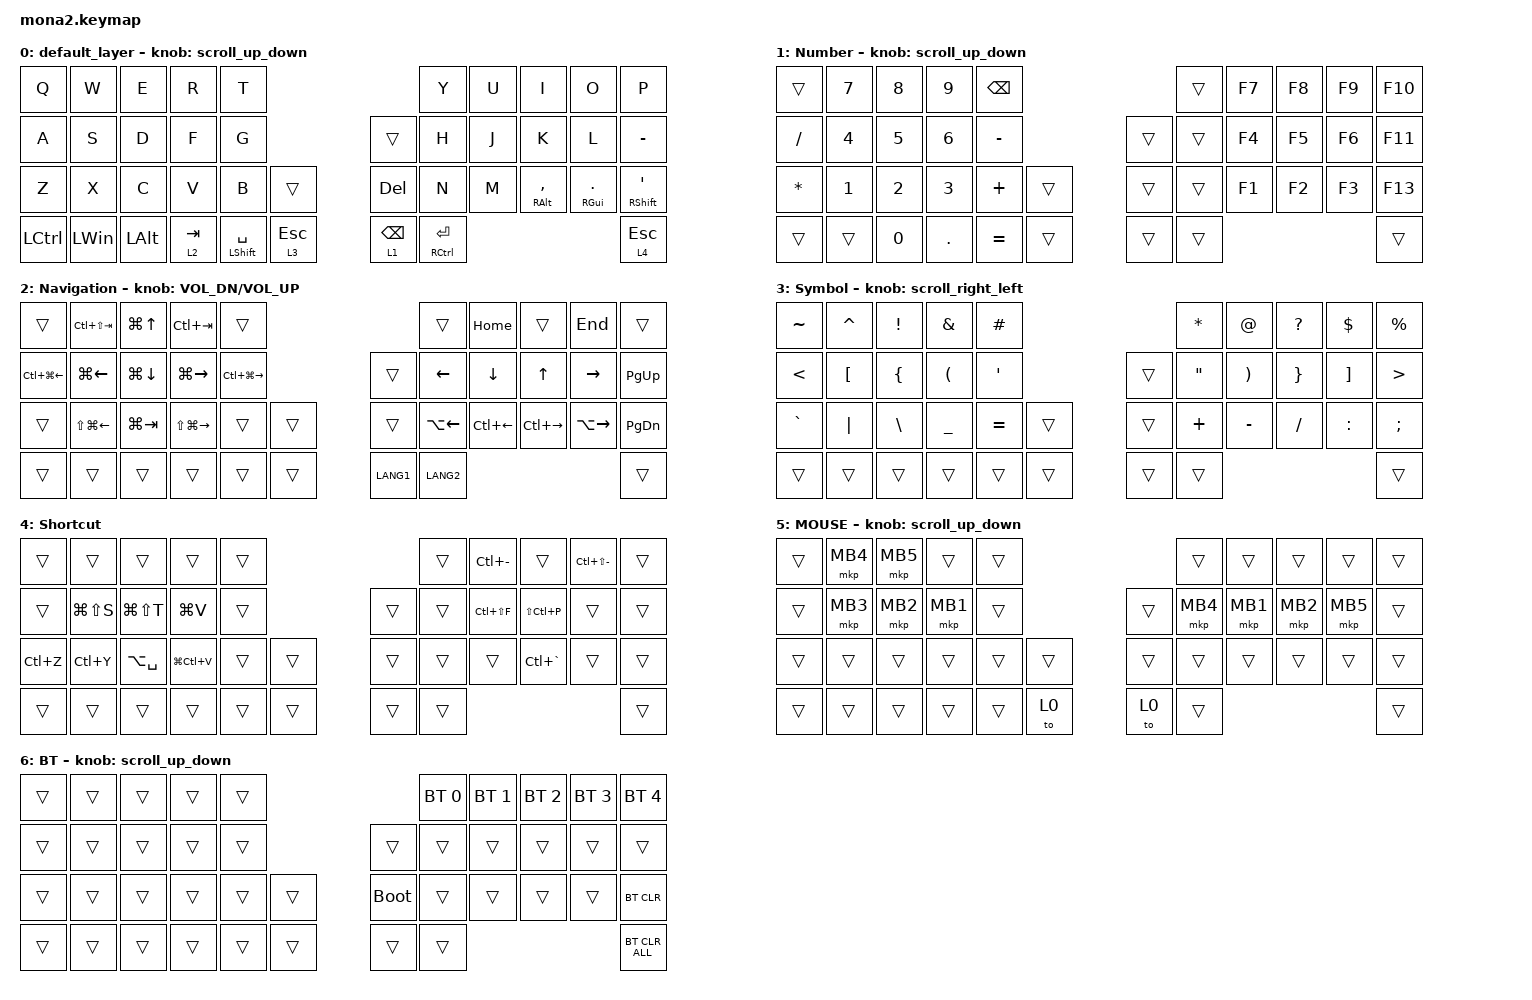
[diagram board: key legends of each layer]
#include <input/processors.dtsi>
#include <input/processors/report_rate_limit.dtsi>
#include <dt-bindings/zmk/input_transform.h>
#include <zephyr/dt-bindings/input/input-event-codes.h>
#include <behaviors.dtsi>
#include <dt-bindings/zmk/bt.h>
#include <dt-bindings/zmk/keys.h>
#include <dt-bindings/zmk/pointing.h>

#undef ZMK_POINTING_DEFAULT_SCRL_VAL

#define ZMK_POINTING_DEFAULT_SCRL_VAL 100
#define MOUSE 5
#define SCROLL 6

&mt {
    tapping-term-ms = <280>;
    quick-tap-ms = <200>;
    flavor = "tap-preferred";
};

&lt {
    tapping-term-ms = <280>;
    quick-tap-ms = <200>;
    flavor = "tap-preferred";
};

/ {
    combos {
        compatible = "zmk,combos";

        layer4_ESC {
            bindings = <&lt 6 ESC>;
            key-positions = <39 38>;
        };
    };

    macros {
        to_layer_0: to_layer_0 {
            compatible = "zmk,behavior-macro-one-param";
            #binding-cells = <1>;
            bindings = <&to 0 &macro_param_1to1 &kp MACRO_PLACEHOLDER>;
        };
    };

    behaviors {
        hml: hml {
            compatible = "zmk,behavior-hold-tap";
            #binding-cells = <2>;
            flavor = "tap-preferred";
            tapping-term-ms = <280>;
            quick-tap-ms = <200>;
            require-prior-idle-ms = <150>;
            bindings = <&kp>, <&kp>;

            hold-trigger-key-positions = <5 6 7 8 9 15 16 17 18 19 20 27 28 29 30 31 32 39 40 41>;
        };

        hmr: hmr {
            compatible = "zmk,behavior-hold-tap";
            #binding-cells = <2>;
            flavor = "tap-preferred";
            tapping-term-ms = <280>;
            quick-tap-ms = <200>;
            require-prior-idle-ms = <150>;
            bindings = <&kp>, <&kp>;

            hold-trigger-key-positions = <0 1 2 3 4 10 11 12 13 14 21 22 23 24 25 26 33 34 35 36 37 38>;
        };

        lt_to_layer_0: lt_to_layer_0 {
            compatible = "zmk,behavior-hold-tap";
            bindings = <&mo>, <&to_layer_0>;

            #binding-cells = <2>;
            tapping-term-ms = <280>;
        };

        scroll_up_down: mouse_wheel_up_down {
            compatible = "zmk,behavior-sensor-rotate";
            #sensor-binding-cells = <0>;
            bindings = <&msc SCRL_DOWN>, <&msc SCRL_UP>;

            tap-ms = <20>;
        };

        scroll_right_left: mouse_wheel_right_left {
            compatible = "zmk,behavior-sensor-rotate";
            #sensor-binding-cells = <0>;
            bindings = <&msc SCRL_LEFT>, <&msc SCRL_RIGHT>;

            tap-ms = <20>;
        };
    };

    keymap {
        compatible = "zmk,keymap";

        default_layer {
            bindings = <
&kp Q             &kp W         &kp E         &kp R      &kp T                                                  &kp Y                    &kp U  &kp I                &kp O                 &kp P
&kp A             &kp S         &kp D         &kp F      &kp G                                 &trans           &kp H                    &kp J  &kp K                &kp L                 &kp MINUS
&kp Z             &kp X         &kp C         &kp V      &kp B                 &trans          &kp DELETE       &kp N                    &kp M  &mt RIGHT_ALT COMMA  &mt RIGHT_GUI PERIOD  &mt RIGHT_SHIFT SQT
&kp LEFT_CONTROL  &kp LEFT_WIN  &kp LEFT_ALT  &lt 2 TAB  &mt LEFT_SHIFT SPACE  &lt 3 ESCAPE    &lt 1 BACKSPACE  &mt RIGHT_CONTROL ENTER                                                    &lt 4 ESCAPE
            >;

            sensor-bindings = <&scroll_up_down>;
        };

        Number {
            bindings = <
&trans        &kp NUMBER_7  &kp NUMBER_8  &kp NUMBER_9  &kp BACKSPACE                    &trans  &kp F7  &kp F8  &kp F9  &kp F10
&kp SLASH     &kp NUMBER_4  &kp NUMBER_5  &kp NUMBER_6  &kp MINUS                &trans  &trans  &kp F4  &kp F5  &kp F6  &kp F11
&kp ASTERISK  &kp NUMBER_1  &kp NUMBER_2  &kp NUMBER_3  &kp PLUS       &trans    &trans  &trans  &kp F1  &kp F2  &kp F3  &kp F13
&trans        &trans        &kp NUMBER_0  &kp PERIOD    &kp EQUAL      &trans    &trans  &trans                          &trans
            >;

            sensor-bindings = <&scroll_up_down>;
        };

        Navigation {
            bindings = <
&trans            &kp LC(LS(TAB))   &kp LG(UP_ARROW)  &kp LC(TAB)        &trans                                        &trans        &kp HOME      &trans         &kp END          &trans
&kp LC(LG(LEFT))  &kp LG(LEFT)      &kp LG(DOWN)      &kp LG(RIGHT)      &kp LC(LG(RIGHT_ARROW))            &trans     &kp LEFT      &kp DOWN      &kp UP_ARROW   &kp RIGHT_ARROW  &kp PAGE_UP
&trans            &kp LS(LG(LEFT))  &kp LG(TAB)       &kp LS(LG(RIGHT))  &trans                   &trans    &trans     &kp LA(LEFT)  &kp LC(LEFT)  &kp LC(RIGHT)  &kp LA(RIGHT)    &kp PAGE_DOWN
&trans            &trans            &trans            &trans             &trans                   &trans    &kp LANG1  &kp LANG2                                                   &trans
            >;

            sensor-bindings = <&inc_dec_kp C_VOL_DN C_VOL_UP>;
        };

        Symbol {
            bindings = <
&kp TILDE      &kp CARET         &kp EXCLAMATION  &kp AMPERSAND         &kp HASH                            &kp ASTERISK       &kp AT                 &kp QUESTION     &kp DOLLAR         &kp PERCENT
&kp LESS_THAN  &kp LEFT_BRACKET  &kp LEFT_BRACE   &kp LEFT_PARENTHESIS  &kp SINGLE_QUOTE            &trans  &kp DOUBLE_QUOTES  &kp RIGHT_PARENTHESIS  &kp RIGHT_BRACE  &kp RIGHT_BRACKET  &kp GREATER_THAN
&kp GRAVE      &kp PIPE          &kp BACKSLASH    &kp UNDER             &kp EQUAL         &trans    &trans  &kp PLUS           &kp MINUS              &kp SLASH        &kp COLON          &kp SEMICOLON
&trans         &trans            &trans           &trans                &trans            &trans    &trans  &trans                                                                        &trans
            >;

            sensor-bindings = <&scroll_right_left>;
        };

        Shortcut {
            bindings = <
&trans     &trans         &trans         &trans         &trans                    &trans  &kp LC(MINUS)  &trans         &kp LC(LS(MINUS))  &trans
&trans     &kp LG(LS(S))  &kp LG(LS(T))  &kp LG(V)      &trans            &trans  &trans  &kp LC(LS(F))  &kp LS(LC(P))  &trans             &trans
&kp LC(Z)  &kp LC(Y)      &kp LA(SPACE)  &kp LG(LC(V))  &trans  &trans    &trans  &trans  &trans         &kp LC(GRAVE)  &trans             &trans
&trans     &trans         &trans         &trans         &trans  &trans    &trans  &trans                                                   &trans
            >;
        };

        MOUSE {
            bindings = <
&trans  &mkp MB4  &mkp MB5  &trans    &trans                    &trans    &trans    &trans    &trans    &trans
&trans  &mkp MB3  &mkp MB2  &mkp MB1  &trans            &trans  &mkp MB4  &mkp MB1  &mkp MB2  &mkp MB5  &trans
&trans  &trans    &trans    &trans    &trans  &trans    &trans  &trans    &trans    &trans    &trans    &trans
&trans  &trans    &trans    &trans    &trans  &to 0     &to 0   &trans                                  &trans
            >;

            sensor-bindings = <&scroll_up_down>;
        };

        BT {
            bindings = <
&trans  &trans  &trans  &trans  &trans                         &bt BT_SEL 0  &bt BT_SEL 1  &bt BT_SEL 2  &bt BT_SEL 3  &bt BT_SEL 4
&trans  &trans  &trans  &trans  &trans            &trans       &trans        &trans        &trans        &trans        &trans
&trans  &trans  &trans  &trans  &trans  &trans    &bootloader  &trans        &trans        &trans        &trans        &bt BT_CLR
&trans  &trans  &trans  &trans  &trans  &trans    &trans       &trans                                                  &bt BT_CLR_ALL
            >;

            sensor-bindings = <&scroll_up_down>;
        };
    };
};

// Key positions that do not deactivate the auto mouse layer
// (keep in sync with the mouse buttons on the MOUSE layer)

&zip_mouse_layer { excluded-positions = <1 2 11 12 13 16 17 18 19>; };

&trackball_central_listener {
    input-processors =
        <&mouse_activate_deadzone>,  // only enter the mouse layer after intentional movement
        <&deadzone_processor>,
        <&zip_ble_report_rate_limit 16>,
        <&zip_xy_transform INPUT_TRANSFORM_X_INVERT>,
        <&zip_mouse_layer 5 1000>;
};
